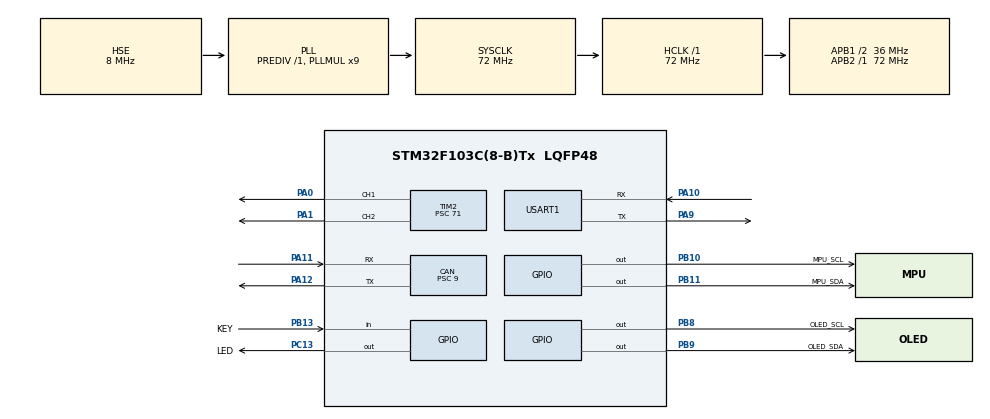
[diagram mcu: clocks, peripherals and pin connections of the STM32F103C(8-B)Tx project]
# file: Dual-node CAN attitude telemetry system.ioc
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CAN.BS1=CAN_BS1_6TQ
CAN.CalculateBaudRate=500000
CAN.CalculateTimeBit=2000
CAN.CalculateTimeQuantum=250.0
CAN.Prescaler=9
Mcu.Family=STM32F1
Mcu.Name=STM32F103C(8-B)Tx
Mcu.Package=LQFP48
NVIC.PriorityGroup=NVIC_PRIORITYGROUP_4
NVIC.TIM3_IRQn=true\:0\:0\:false\:false\:true\:true\:true\:true
PA0-WKUP.Signal=S_TIM2_CH1_ETR
PA1.Signal=S_TIM2_CH2
PA10.Mode=Asynchronous
PA10.Signal=USART1_RX
PA11.Mode=CAN_Activate
PA11.Signal=CAN_RX
PA12.Mode=CAN_Activate
PA12.Signal=CAN_TX
PA13.Mode=Serial_Wire
PA13.Signal=SYS_JTMS-SWDIO
PA14.Mode=Serial_Wire
PA14.Signal=SYS_JTCK-SWCLK
PA9.Mode=Asynchronous
PA9.Signal=USART1_TX
PB10.GPIO_Label=MPU_SCL
PB10.GPIO_ModeDefaultOutputPP=GPIO_MODE_OUTPUT_OD
PB10.GPIO_PuPd=GPIO_PULLUP
PB10.PinState=GPIO_PIN_SET
PB10.Signal=GPIO_Output
PB11.GPIO_Label=MPU_SDA
PB11.GPIO_ModeDefaultOutputPP=GPIO_MODE_OUTPUT_OD
PB11.GPIO_PuPd=GPIO_PULLUP
PB11.GPIO_Speed=GPIO_SPEED_FREQ_LOW
PB11.PinState=GPIO_PIN_SET
PB11.Signal=GPIO_Output
PB13.GPIO_Label=KEY
PB13.GPIO_Mode=GPIO_MODE_INPUT
PB13.GPIO_PuPd=GPIO_PULLDOWN
PB13.Signal=GPIO_Input
PB8.GPIO_Label=OLED_SCL
PB8.GPIO_ModeDefaultOutputPP=GPIO_MODE_OUTPUT_OD
PB8.GPIO_PuPd=GPIO_PULLUP
PB8.GPIO_Speed=GPIO_SPEED_FREQ_LOW
PB8.PinState=GPIO_PIN_SET
PB8.Signal=GPIO_Output
PB9.GPIO_Label=OLED_SDA
PB9.GPIO_ModeDefaultOutputPP=GPIO_MODE_OUTPUT_OD
PB9.GPIO_PuPd=GPIO_PULLUP
PB9.GPIO_Speed=GPIO_SPEED_FREQ_LOW
PB9.PinState=GPIO_PIN_SET
PB9.Signal=GPIO_Output
PC13-TAMPER-RTC.GPIO_Label=LED
PC13-TAMPER-RTC.GPIO_ModeDefaultOutputPP=GPIO_MODE_OUTPUT_PP
PC13-TAMPER-RTC.GPIO_PuPd=GPIO_NOPULL
PC13-TAMPER-RTC.PinState=GPIO_PIN_SET
PC13-TAMPER-RTC.Signal=GPIO_Output
PD0-OSC_IN.Mode=HSE-External-Oscillator
PD0-OSC_IN.Signal=RCC_OSC_IN
PD1-OSC_OUT.Mode=HSE-External-Oscillator
PD1-OSC_OUT.Signal=RCC_OSC_OUT
ProjectManager.HeapSize=0x200
ProjectManager.StackSize=0x400
ProjectManager.TargetToolchain=MDK-ARM V5.32
RCC.AHBFreq_Value=72000000
RCC.APB1CLKDivider=RCC_HCLK_DIV2
RCC.APB1Freq_Value=36000000
RCC.APB1TimFreq_Value=72000000
RCC.APB2Freq_Value=72000000
RCC.APB2TimFreq_Value=72000000
RCC.HCLKFreq_Value=72000000
RCC.PLLMUL=RCC_PLL_MUL9
RCC.PLLSourceVirtual=RCC_PLLSOURCE_HSE
RCC.SYSCLKFreq_VALUE=72000000
RCC.SYSCLKSource=RCC_SYSCLKSOURCE_PLLCLK
RCC.USBFreq_Value=72000000
SH.S_TIM2_CH1_ETR.0=TIM2_CH1,PWM Generation1 CH1
SH.S_TIM2_CH2.0=TIM2_CH2,PWM Generation2 CH2
TIM2.Channel-PWM\ Generation1\ CH1=TIM_CHANNEL_1
TIM2.Channel-PWM\ Generation2\ CH2=TIM_CHANNEL_2
TIM2.Period=19999
TIM2.Prescaler=71
TIM2.Pulse-PWM\ Generation1\ CH1=1500
TIM2.Pulse-PWM\ Generation2\ CH2=1500
TIM3.Period=99
TIM3.Prescaler=7199
USART1.VirtualMode=VM_ASYNC
VP_TIM2_VS_ClockSourceINT.Mode=Internal
VP_TIM3_VS_ClockSourceINT.Mode=Internal
board=custom

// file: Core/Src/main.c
/* USER CODE BEGIN Header */
/**
  ******************************************************************************
  * @file           : main.c
  * @brief          : Main program body
  ******************************************************************************
  * @attention
  *
  * Copyright (c) 2026 STMicroelectronics.
  * All rights reserved.
  *
  * This software is licensed under terms that can be found in the LICENSE file
  * in the root directory of this software component.
  * If no LICENSE file comes with this software, it is provided AS-IS.
  *
  ******************************************************************************
  */
/* USER CODE END Header */
#include "main.h"
#include "can.h"
#include "tim.h"
#include "usart.h"
#include "gpio.h"

/* USER CODE BEGIN Includes */
#include <math.h>          /* atan2：必须显式包含，否则隐式声明会按返回 int 处理，姿态角恒为 0 */
#include "OLED.h"
#include "mpu6500.h"
#include "steer.h"
/* USER CODE END Includes */

/* USER CODE BEGIN PV */
  //用来存放加速度和陀螺仪的三轴值
  int16_t accel[3];
  int16_t gyro[3];
  //存放陀螺仪的三轴偏置值
  float gx_bias,gy_bias,gz_bias;
  //加速度和陀螺仪的最终应用值
  float ax,ay,az;
  float gx,gy,gz;

  //PID控制器实例（pitch和roll各一份，参数独立可调）
  PID_t pitch_pid;
  PID_t roll_pid;
  float pid_out;
  float pid_out_roll;

//按键检测变量
uint8_t key_count;
volatile uint8_t key_flag;
uint8_t oled_choice=0;

//互补滤波姿态角
float pitch = 0, roll = 0;
#define dt  0.01f
#define ALPHA 0.98f
#define Pitch_Base 4.0f
#define Roll_Base  0.0f    /* roll水平零点（如实际水平时有偏，标定后填入） */
#define Pitch_Bias 3.0f
/* USER CODE END PV */

void SystemClock_Config(void);

/* USER CODE BEGIN 0 */
void OledChoice(void){
  if(key_flag==1){
    oled_choice = !oled_choice;
    OLED_Clear();
    OLED_ShowString(1, 1, "MPU6500");
    OLED_ShowString(2,1,"Ax/Gx:");
    OLED_ShowString(3,1,"Ay/Gy:");
    OLED_ShowString(4,1,"Az/Gz:");

  }
}

/* CAN发送：把pitch和roll角度发出去 */
void CAN_Send_Attitude(float pitch, float roll)
{
    CAN_TxHeaderTypeDef tx_header;
    uint8_t tx_data[8];
    uint32_t tx_mailbox;

    /* 帧头配置 */
    tx_header.StdId = 0x123;        /* 本节点ID */
    tx_header.IDE = CAN_ID_STD;     /* 标准帧 */
    tx_header.RTR = CAN_RTR_DATA;   /* 数据帧 */
    tx_header.DLC = 2;              /* 4字节数据 */

    /* 角度×100转整数，保留两位小数 */
    int8_t pitch_i = (int8_t)(pitch);
    int8_t roll_i  = (int8_t)(roll);

    /* 拆成高低字节 */
    tx_data[0] = pitch_i & 0xFF;
    tx_data[1] = roll_i & 0xFF;

    HAL_CAN_AddTxMessage(&hcan, &tx_header, tx_data, &tx_mailbox);
}
/* USER CODE END 0 */

int main(void)
{

  /* MCU Configuration--------------------------------------------------------*/

  /* Reset of all peripherals, Initializes the Flash interface and the Systick. */
  HAL_Init();

  /* Configure the system clock */
  SystemClock_Config();

  /* Initialize all configured peripherals */
  MX_GPIO_Init();
  MX_TIM2_Init();
  MX_USART1_UART_Init();
  MX_TIM3_Init();
  MX_CAN_Init();
  /* USER CODE BEGIN 2 */
  OLED_Init();
  MPU_I2C_Init();
  //得到陀螺仪各轴的偏置
  Calibrate_Gyro(&gx_bias,&gy_bias,&gz_bias);
  //启动定时中断
  HAL_TIM_Base_Start_IT(&htim3);
  //开启PWM
  HAL_TIM_PWM_Start(&htim2, TIM_CHANNEL_1);
  HAL_TIM_PWM_Start(&htim2, TIM_CHANNEL_2);

  OLED_Clear();
  OLED_ShowString(1, 1,"MPU6500");
  OLED_ShowString(2,1,"pitch:");
  OLED_ShowString(3,1,"roll:");

  //初始化俩舵机位置
  __HAL_TIM_SET_COMPARE(&htim2, TIM_CHANNEL_1, Pitch_Init_Ccr);
  __HAL_TIM_SET_COMPARE(&htim2, TIM_CHANNEL_2, Roll_Init_Ccr);

  //初始化PID参数（先只开P，Kp从1.0开始试调）
  pitch_pid.Kp = 1.3f;
  pitch_pid.Ki = 0.3f;
  pitch_pid.Kd = 0.15f;
  pitch_pid.integral = 0;
  pitch_pid.last_error = 0;

  //roll PID参数和pitch调成一致
  roll_pid.Kp = 1.0f;
  roll_pid.Ki = 0.1f;
  roll_pid.Kd = 0.1f;
  roll_pid.integral = 0;
  roll_pid.last_error = 0;

  //启动CAN
  HAL_CAN_Start(&hcan);

  /* USER CODE END 2 */

  /* Infinite loop */
  while (1)
  {

    /* USER CODE BEGIN 3 */
  OLED_ShowSignedNum(2,7,pitch-Pitch_Bias,6);
  OLED_ShowSignedNum(3,6,roll,6);
  CAN_Send_Attitude(pitch, roll);   /* 发CAN：ID=0x123，4字节 */
  HAL_Delay(100);                    /* 100ms发一帧 */
  }
  /* USER CODE END 3 */
}

void SystemClock_Config(void)
{
  RCC_OscInitTypeDef RCC_OscInitStruct = {0};
  RCC_ClkInitTypeDef RCC_ClkInitStruct = {0};

  /** Initializes the RCC Oscillators according to the specified parameters
  * in the RCC_OscInitTypeDef structure.
  */
  RCC_OscInitStruct.OscillatorType = RCC_OSCILLATORTYPE_HSE;
  RCC_OscInitStruct.HSEState = RCC_HSE_ON;
  RCC_OscInitStruct.HSEPredivValue = RCC_HSE_PREDIV_DIV1;
  RCC_OscInitStruct.HSIState = RCC_HSI_ON;
  RCC_OscInitStruct.PLL.PLLState = RCC_PLL_ON;
  RCC_OscInitStruct.PLL.PLLSource = RCC_PLLSOURCE_HSE;
  RCC_OscInitStruct.PLL.PLLMUL = RCC_PLL_MUL9;
  if (HAL_RCC_OscConfig(&RCC_OscInitStruct) != HAL_OK)
  {
    Error_Handler();
  }

  /** Initializes the CPU, AHB and APB buses clocks
  */
  RCC_ClkInitStruct.ClockType = RCC_CLOCKTYPE_HCLK|RCC_CLOCKTYPE_SYSCLK
                              |RCC_CLOCKTYPE_PCLK1|RCC_CLOCKTYPE_PCLK2;
  RCC_ClkInitStruct.SYSCLKSource = RCC_SYSCLKSOURCE_PLLCLK;
  RCC_ClkInitStruct.AHBCLKDivider = RCC_SYSCLK_DIV1;
  RCC_ClkInitStruct.APB1CLKDivider = RCC_HCLK_DIV2;
  RCC_ClkInitStruct.APB2CLKDivider = RCC_HCLK_DIV1;

  if (HAL_RCC_ClockConfig(&RCC_ClkInitStruct, FLASH_LATENCY_2) != HAL_OK)
  {
    Error_Handler();
  }
}

/* USER CODE BEGIN 4 */

//TIM3中断函数
void HAL_TIM_PeriodElapsedCallback(TIM_HandleTypeDef *htim)
{
    if (htim->Instance == TIM3) {
        // 按键检测
        if (HAL_GPIO_ReadPin(KEY_GPIO_Port, KEY_Pin) == GPIO_PIN_SET) {
            key_count++;
            if (key_count >= 3) {
                key_count = 0;
                key_flag = 1;
                while(HAL_GPIO_ReadPin(KEY_GPIO_Port, KEY_Pin) == GPIO_PIN_SET);
            }
        }

        // 1. 读MPU
        MPU_ReadAandG(accel, gyro);

        // 2. 减零偏，换算成°/s
        gx = (gyro[0] - gx_bias) / 131.0f;
        gy = (gyro[1] - gy_bias) / 131.0f;

        // 3. 加速度算静态角度
        float acc_pitch = atan2(accel[1], accel[2]) * 57.3f;
        float acc_roll  = atan2(-accel[0], accel[2]) * 57.3f;

        // 4. 互补滤波
        pitch = ALPHA * (pitch + gx * dt) + (1-ALPHA) * acc_pitch;
        roll  = ALPHA * (roll  + gy * dt) + (1-ALPHA) * acc_roll;

        // 5. PID控制：让 pitch 回到 Pitch_Base（水平零点）
        float error = Pitch_Base - pitch;              /* 误差 = 目标 - 当前 */
        pid_out = PID_Calc(&pitch_pid, error, dt);     /* 算出角度修正量 */
        if(fabs(error) < 2.0f) pid_out = 0;      // pitch
        steer_pitch_pid(pid_out);                      /* 驱动舵机 */

        // 6. PID控制：让 roll 回到 Roll_Base（水平零点）
        float error_roll = Roll_Base - roll;           /* 误差 = 目标 - 当前 */
        pid_out_roll = PID_Calc(&roll_pid, error_roll, dt);
        if(fabs(error_roll) < 3.0f) pid_out_roll = 0;  // roll
        steer_roll_pid(pid_out_roll);                  /* 驱动roll舵机 */

    }
}

/* USER CODE END 4 */

void Error_Handler(void)
{
  __disable_irq();
  while (1)
  {
  }
}
